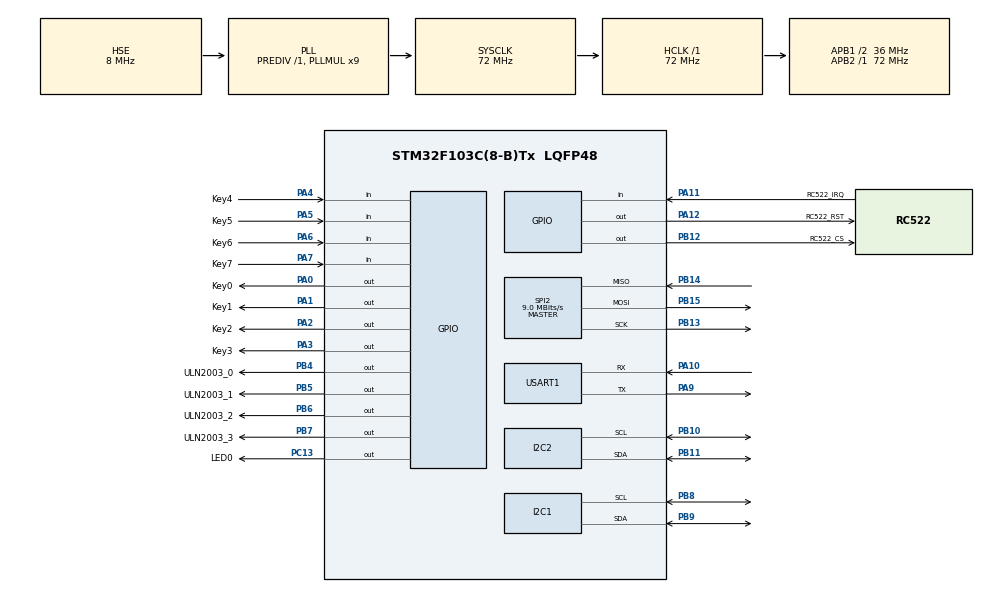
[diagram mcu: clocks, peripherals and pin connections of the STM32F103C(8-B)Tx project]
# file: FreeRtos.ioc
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FREERTOS.BinarySemaphores01=LEDSemaphroes,Dynamic,NULL;DoorSem,Dynamic,NULL
FREERTOS.Tasks01=defaultTask,-3,128,StartDefaultTask,Default,NULL,Dynamic,NULL,NULL;LED_TASK,-1,128,StartTask_LED,Default,NULL,Dynamic,NULL,NULL;RC522_TASK,2,384,StartTask_RC522,Default,NULL,Dynamic,NULL,NULL;LCD_TASK,2,384,StartTask_LCD,Default,NULL,Dynamic,NULL,NULL;DoorTsk,-2,256,StartTask_Door,Default,NULL,Dynamic,NULL,NULL;KeyTask,2,384,StartTask_Key,Default,NULL,Dynamic,NULL,NULL
FREERTOS.Timers01=myTimer01,Callback01,osTimerPeriodic,Default,NULL,Dynamic,NULL
FREERTOS.configTOTAL_HEAP_SIZE=15000
FREERTOS.configUSE_TIMERS=1
Mcu.Family=STM32F1
Mcu.Name=STM32F103C(8-B)Tx
Mcu.Package=LQFP48
NVIC.PriorityGroup=NVIC_PRIORITYGROUP_4
PA0-WKUP.GPIO_Label=Key0
PA0-WKUP.GPIO_PuPd=GPIO_PULLUP
PA0-WKUP.GPIO_Speed=GPIO_SPEED_FREQ_HIGH
PA0-WKUP.PinState=GPIO_PIN_SET
PA0-WKUP.Signal=GPIO_Output
PA1.GPIO_Label=Key1
PA1.GPIO_PuPd=GPIO_PULLUP
PA1.GPIO_Speed=GPIO_SPEED_FREQ_HIGH
PA1.PinState=GPIO_PIN_SET
PA1.Signal=GPIO_Output
PA10.Mode=Asynchronous
PA10.Signal=USART1_RX
PA11.GPIO_Label=RC522_IRQ
PA11.GPIO_PuPd=GPIO_PULLUP
PA11.Signal=GPIO_Input
PA12.GPIO_Label=RC522_RST
PA12.GPIO_ModeDefaultOutputPP=GPIO_MODE_OUTPUT_PP
PA12.GPIO_PuPd=GPIO_PULLDOWN
PA12.GPIO_Speed=GPIO_SPEED_FREQ_HIGH
PA12.PinState=GPIO_PIN_RESET
PA12.Signal=GPIO_Output
PA13.Mode=Serial_Wire
PA13.Signal=SYS_JTMS-SWDIO
PA14.Mode=Serial_Wire
PA14.Signal=SYS_JTCK-SWCLK
PA2.GPIO_Label=Key2
PA2.GPIO_PuPd=GPIO_PULLUP
PA2.GPIO_Speed=GPIO_SPEED_FREQ_HIGH
PA2.PinState=GPIO_PIN_SET
PA2.Signal=GPIO_Output
PA3.GPIO_Label=Key3
PA3.GPIO_PuPd=GPIO_PULLUP
PA3.GPIO_Speed=GPIO_SPEED_FREQ_HIGH
PA3.PinState=GPIO_PIN_SET
PA3.Signal=GPIO_Output
PA4.GPIO_Label=Key4
PA4.GPIO_PuPd=GPIO_PULLUP
PA4.Signal=GPIO_Input
PA5.GPIO_Label=Key5
PA5.GPIO_PuPd=GPIO_PULLUP
PA5.Signal=GPIO_Input
PA6.GPIO_Label=Key6
PA6.GPIO_PuPd=GPIO_PULLUP
PA6.Signal=GPIO_Input
PA7.GPIO_Label=Key7
PA7.GPIO_PuPd=GPIO_PULLUP
PA7.Signal=GPIO_Input
PA9.Mode=Asynchronous
PA9.Signal=USART1_TX
PB10.Mode=I2C
PB10.Signal=I2C2_SCL
PB11.Mode=I2C
PB11.Signal=I2C2_SDA
PB12.GPIO_Label=RC522_CS
PB12.GPIO_ModeDefaultOutputPP=GPIO_MODE_OUTPUT_PP
PB12.GPIO_PuPd=GPIO_PULLUP
PB12.GPIO_Speed=GPIO_SPEED_FREQ_HIGH
PB12.PinState=GPIO_PIN_SET
PB12.Signal=GPIO_Output
PB13.Mode=Full_Duplex_Master
PB13.Signal=SPI2_SCK
PB14.Mode=Full_Duplex_Master
PB14.Signal=SPI2_MISO
PB15.Mode=Full_Duplex_Master
PB15.Signal=SPI2_MOSI
PB4.GPIO_Label=ULN2003_0
PB4.GPIO_ModeDefaultOutputPP=GPIO_MODE_OUTPUT_PP
PB4.GPIO_PuPd=GPIO_PULLDOWN
PB4.GPIO_Speed=GPIO_SPEED_FREQ_HIGH
PB4.PinState=GPIO_PIN_SET
PB4.Signal=GPIO_Output
PB5.GPIO_Label=ULN2003_1
PB5.GPIO_PuPd=GPIO_PULLDOWN
PB5.GPIO_Speed=GPIO_SPEED_FREQ_HIGH
PB5.PinState=GPIO_PIN_SET
PB5.Signal=GPIO_Output
PB6.GPIO_Label=ULN2003_2
PB6.GPIO_PuPd=GPIO_PULLDOWN
PB6.GPIO_Speed=GPIO_SPEED_FREQ_HIGH
PB6.PinState=GPIO_PIN_SET
PB6.Signal=GPIO_Output
PB7.GPIO_Label=ULN2003_3
PB7.GPIO_PuPd=GPIO_PULLDOWN
PB7.GPIO_Speed=GPIO_SPEED_FREQ_HIGH
PB7.PinState=GPIO_PIN_SET
PB7.Signal=GPIO_Output
PB8.Mode=I2C
PB8.Signal=I2C1_SCL
PB9.Mode=I2C
PB9.Signal=I2C1_SDA
PC13-TAMPER-RTC.GPIO_Label=LED0
PC13-TAMPER-RTC.GPIO_PuPd=GPIO_PULLUP
PC13-TAMPER-RTC.GPIO_Speed=GPIO_SPEED_FREQ_HIGH
PC13-TAMPER-RTC.PinState=GPIO_PIN_SET
PC13-TAMPER-RTC.Signal=GPIO_Output
PC14-OSC32_IN.Mode=LSE-External-Oscillator
PC14-OSC32_IN.Signal=RCC_OSC32_IN
PC15-OSC32_OUT.Mode=LSE-External-Oscillator
PC15-OSC32_OUT.Signal=RCC_OSC32_OUT
PD0-OSC_IN.Mode=HSE-External-Oscillator
PD0-OSC_IN.Signal=RCC_OSC_IN
PD1-OSC_OUT.Mode=HSE-External-Oscillator
PD1-OSC_OUT.Signal=RCC_OSC_OUT
ProjectManager.HeapSize=0x400
ProjectManager.StackSize=0x200
ProjectManager.TargetToolchain=MDK-ARM V5
RCC.AHBFreq_Value=72000000
RCC.APB1CLKDivider=RCC_HCLK_DIV2
RCC.APB1Freq_Value=36000000
RCC.APB1TimFreq_Value=72000000
RCC.APB2Freq_Value=72000000
RCC.APB2TimFreq_Value=72000000
RCC.HCLKFreq_Value=72000000
RCC.PLLMUL=RCC_PLL_MUL9
RCC.PLLSourceVirtual=RCC_PLLSOURCE_HSE
RCC.SYSCLKFreq_VALUE=72000000
RCC.SYSCLKSource=RCC_SYSCLKSOURCE_PLLCLK
RCC.USBFreq_Value=72000000
SPI2.BaudRatePrescaler=SPI_BAUDRATEPRESCALER_4
SPI2.CLKPhase=SPI_PHASE_2EDGE
SPI2.CLKPolarity=SPI_POLARITY_HIGH
SPI2.CalculateBaudRate=9.0 MBits/s
SPI2.Direction=SPI_DIRECTION_2LINES
SPI2.Mode=SPI_MODE_MASTER
SPI2.VirtualType=VM_MASTER
USART1.VirtualMode=VM_ASYNC
VP_FREERTOS_VS_ENABLE.Mode=Enabled
board=custom

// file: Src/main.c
/**
  ******************************************************************************
  * @file           : main.c
  * @brief          : Main program body
  ******************************************************************************
  * This notice applies to any and all portions of this file
  * that are not between comment pairs USER CODE BEGIN and
  * USER CODE END. Other portions of this file, whether
  * inserted by the user or by software development tools
  * are owned by their respective copyright owners.
  *
  * Copyright (c) 2019 STMicroelectronics International N.V.
  * All rights reserved.
  *
  * Redistribution and use in source and binary forms, with or without
  * modification, are permitted, provided that the following conditions are met:
  *
  * 1. Redistribution of source code must retain the above copyright notice,
  *    this list of conditions and the following disclaimer.
  * 2. Redistributions in binary form must reproduce the above copyright notice,
  *    this list of conditions and the following disclaimer in the documentation
  *    and/or other materials provided with the distribution.
  * 3. Neither the name of STMicroelectronics nor the names of other
  *    contributors to this software may be used to endorse or promote products
  *    derived from this software without specific written permission.
  * 4. This software, including modifications and/or derivative works of this
  *    software, must execute solely and exclusively on microcontroller or
  *    microprocessor devices manufactured by or for STMicroelectronics.
  * 5. Redistribution and use of this software other than as permitted under
  *    this license is void and will automatically terminate your rights under
  *    this license.
  *
  * THIS SOFTWARE IS PROVIDED BY STMICROELECTRONICS AND CONTRIBUTORS "AS IS"
  * AND ANY EXPRESS, IMPLIED OR STATUTORY WARRANTIES, INCLUDING, BUT NOT
  * LIMITED TO, THE IMPLIED WARRANTIES OF MERCHANTABILITY, FITNESS FOR A
  * PARTICULAR PURPOSE AND NON-INFRINGEMENT OF THIRD PARTY INTELLECTUAL PROPERTY
  * RIGHTS ARE DISCLAIMED TO THE FULLEST EXTENT PERMITTED BY LAW. IN NO EVENT
  * SHALL STMICROELECTRONICS OR CONTRIBUTORS BE LIABLE FOR ANY DIRECT, INDIRECT,
  * INCIDENTAL, SPECIAL, EXEMPLARY, OR CONSEQUENTIAL DAMAGES (INCLUDING, BUT NOT
  * LIMITED TO, PROCUREMENT OF SUBSTITUTE GOODS OR SERVICES; LOSS OF USE, DATA,
  * OR PROFITS; OR BUSINESS INTERRUPTION) HOWEVER CAUSED AND ON ANY THEORY OF
  * LIABILITY, WHETHER IN CONTRACT, STRICT LIABILITY, OR TORT (INCLUDING
  * NEGLIGENCE OR OTHERWISE) ARISING IN ANY WAY OUT OF THE USE OF THIS SOFTWARE,
  * EVEN IF ADVISED OF THE POSSIBILITY OF SUCH DAMAGE.
  *
  ******************************************************************************
  */
#include "main.h"
#include "stm32f1xx_hal.h"
#include "cmsis_os.h"
#include "i2c.h"
#include "spi.h"
#include "usart.h"
#include "gpio.h"

/* USER CODE BEGIN Includes */
#include "RC522.h"
#include "oled.h"
/* USER CODE END Includes */

/* USER CODE BEGIN PV */
/* Private variables ---------------------------------------------------------*/

/* USER CODE END PV */

void SystemClock_Config(void);
void MX_FREERTOS_Init(void);

/* USER CODE BEGIN PFP */
/* Private function prototypes -----------------------------------------------*/

/* USER CODE END PFP */

int main(void)
{

  /* MCU Configuration----------------------------------------------------------*/

  /* Reset of all peripherals, Initializes the Flash interface and the Systick. */
  HAL_Init();

  /* Configure the system clock */
  SystemClock_Config();

  /* Initialize all configured peripherals */
  MX_GPIO_Init();
  MX_SPI2_Init();
  MX_USART1_UART_Init();
  MX_I2C1_Init();
  MX_I2C2_Init();
  /* USER CODE BEGIN 2 */
	MFRC522_Initializtion();
	OLED_Init();
	OLED_P6x8Str(0,0,"rc522");
  /* USER CODE END 2 */

  /* Call init function for freertos objects (in freertos.c) */
  MX_FREERTOS_Init();

  /* Start scheduler */
  osKernelStart();

  /* We should never get here as control is now taken by the scheduler */

  /* Infinite loop */
  while (1)
  {

  /* USER CODE BEGIN 3 */
		HAL_Delay(100);
  }
  /* USER CODE END 3 */

}

void SystemClock_Config(void)
{

  RCC_OscInitTypeDef RCC_OscInitStruct;
  RCC_ClkInitTypeDef RCC_ClkInitStruct;

    /**Initializes the CPU, AHB and APB busses clocks
    */
  RCC_OscInitStruct.OscillatorType = RCC_OSCILLATORTYPE_HSE;
  RCC_OscInitStruct.HSEState = RCC_HSE_ON;
  RCC_OscInitStruct.HSEPredivValue = RCC_HSE_PREDIV_DIV1;
  RCC_OscInitStruct.HSIState = RCC_HSI_ON;
  RCC_OscInitStruct.PLL.PLLState = RCC_PLL_ON;
  RCC_OscInitStruct.PLL.PLLSource = RCC_PLLSOURCE_HSE;
  RCC_OscInitStruct.PLL.PLLMUL = RCC_PLL_MUL9;
  if (HAL_RCC_OscConfig(&RCC_OscInitStruct) != HAL_OK)
  {
    _Error_Handler(__FILE__, __LINE__);
  }

    /**Initializes the CPU, AHB and APB busses clocks
    */
  RCC_ClkInitStruct.ClockType = RCC_CLOCKTYPE_HCLK|RCC_CLOCKTYPE_SYSCLK
                              |RCC_CLOCKTYPE_PCLK1|RCC_CLOCKTYPE_PCLK2;
  RCC_ClkInitStruct.SYSCLKSource = RCC_SYSCLKSOURCE_PLLCLK;
  RCC_ClkInitStruct.AHBCLKDivider = RCC_SYSCLK_DIV1;
  RCC_ClkInitStruct.APB1CLKDivider = RCC_HCLK_DIV2;
  RCC_ClkInitStruct.APB2CLKDivider = RCC_HCLK_DIV1;

  if (HAL_RCC_ClockConfig(&RCC_ClkInitStruct, FLASH_LATENCY_2) != HAL_OK)
  {
    _Error_Handler(__FILE__, __LINE__);
  }

    /**Configure the Systick interrupt time
    */
  HAL_SYSTICK_Config(HAL_RCC_GetHCLKFreq()/1000);

    /**Configure the Systick
    */
  HAL_SYSTICK_CLKSourceConfig(SYSTICK_CLKSOURCE_HCLK);

  /* SysTick_IRQn interrupt configuration */
  HAL_NVIC_SetPriority(SysTick_IRQn, 15, 0);
}

void _Error_Handler(char *file, int line)
{
  while(1)
  {
  }
}

/************************ (C) COPYRIGHT STMicroelectronics *****END OF FILE****/

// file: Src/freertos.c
/**
  ******************************************************************************
  * File Name          : freertos.c
  * Description        : Code for freertos applications
  ******************************************************************************
  * This notice applies to any and all portions of this file
  * that are not between comment pairs USER CODE BEGIN and
  * USER CODE END. Other portions of this file, whether
  * inserted by the user or by software development tools
  * are owned by their respective copyright owners.
  *
  * Copyright (c) 2019 STMicroelectronics International N.V.
  * All rights reserved.
  *
  * Redistribution and use in source and binary forms, with or without
  * modification, are permitted, provided that the following conditions are met:
  *
  * 1. Redistribution of source code must retain the above copyright notice,
  *    this list of conditions and the following disclaimer.
  * 2. Redistributions in binary form must reproduce the above copyright notice,
  *    this list of conditions and the following disclaimer in the documentation
  *    and/or other materials provided with the distribution.
  * 3. Neither the name of STMicroelectronics nor the names of other
  *    contributors to this software may be used to endorse or promote products
  *    derived from this software without specific written permission.
  * 4. This software, including modifications and/or derivative works of this
  *    software, must execute solely and exclusively on microcontroller or
  *    microprocessor devices manufactured by or for STMicroelectronics.
  * 5. Redistribution and use of this software other than as permitted under
  *    this license is void and will automatically terminate your rights under
  *    this license.
  *
  * THIS SOFTWARE IS PROVIDED BY STMICROELECTRONICS AND CONTRIBUTORS "AS IS"
  * AND ANY EXPRESS, IMPLIED OR STATUTORY WARRANTIES, INCLUDING, BUT NOT
  * LIMITED TO, THE IMPLIED WARRANTIES OF MERCHANTABILITY, FITNESS FOR A
  * PARTICULAR PURPOSE AND NON-INFRINGEMENT OF THIRD PARTY INTELLECTUAL PROPERTY
  * RIGHTS ARE DISCLAIMED TO THE FULLEST EXTENT PERMITTED BY LAW. IN NO EVENT
  * SHALL STMICROELECTRONICS OR CONTRIBUTORS BE LIABLE FOR ANY DIRECT, INDIRECT,
  * INCIDENTAL, SPECIAL, EXEMPLARY, OR CONSEQUENTIAL DAMAGES (INCLUDING, BUT NOT
  * LIMITED TO, PROCUREMENT OF SUBSTITUTE GOODS OR SERVICES; LOSS OF USE, DATA,
  * OR PROFITS; OR BUSINESS INTERRUPTION) HOWEVER CAUSED AND ON ANY THEORY OF
  * LIABILITY, WHETHER IN CONTRACT, STRICT LIABILITY, OR TORT (INCLUDING
  * NEGLIGENCE OR OTHERWISE) ARISING IN ANY WAY OUT OF THE USE OF THIS SOFTWARE,
  * EVEN IF ADVISED OF THE POSSIBILITY OF SUCH DAMAGE.
  *
  ******************************************************************************
  */

#include "FreeRTOS.h"
#include "task.h"
#include "cmsis_os.h"

/* USER CODE BEGIN Includes */
#include "main.h"
#include "gpio.h"
#include "RC522.h"
#include "oled.h"
#include "stdlib.h"
#include "i2c.h"
/* USER CODE END Includes */

osThreadId defaultTaskHandle;
osThreadId LED_TASKHandle;
osThreadId RC522_TASKHandle;
osThreadId LCD_TASKHandle;
osThreadId DoorTskHandle;
osThreadId KeyTaskHandle;
osTimerId myTimer01Handle;
osSemaphoreId LEDSemaphroesHandle;
osSemaphoreId DoorSemHandle;

/* USER CODE BEGIN Variables */
osMailQId RC522_mailHandle;
osMailQId password_mailHandle;
osMailQId word_mailHandle;
uint8_t display_words[24]="                        ";
uint8_t display_password[16]="               ";
uint8_t check_card[14]= "             ";
uint8_t key_input[5]={"    "};
uint8_t password_status = 0;
uint8_t control_door_flag = 0;
uint8_t password[4] = "1234";
uint8_t ic_card_status;
uint8_t password_err_cnt = 0;
//{{"    have card"},{"not have card"}};
/* USER CODE END Variables */

void StartDefaultTask(void const * argument);
void StartTask_LED(void const * argument);
void StartTask_RC522(void const * argument);
void StartTask_LCD(void const * argument);
void StartTask_Door(void const * argument);
void StartTask_Key(void const * argument);
void Callback01(void const * argument);

void MX_FREERTOS_Init(void); /* (MISRA C 2004 rule 8.1) */

/* USER CODE BEGIN FunctionPrototypes */
void Door_control(uint8_t status)  ;
char keypress(void);
uint16_t GPIO_ReadInputData(GPIO_TypeDef* GPIOx );
void KeyOpen(uint8_t key_value);
int my_strcmp(char const *p,char const *q)  ;
/* USER CODE END FunctionPrototypes */

/* Hook prototypes */

/* Init FreeRTOS */

void MX_FREERTOS_Init(void) {

  /* Create the semaphores(s) */
  /* definition and creation of LEDSemaphroes */
  osSemaphoreDef(LEDSemaphroes);
  LEDSemaphroesHandle = osSemaphoreCreate(osSemaphore(LEDSemaphroes), 1);

  /* definition and creation of DoorSem */
  osSemaphoreDef(DoorSem);
  DoorSemHandle = osSemaphoreCreate(osSemaphore(DoorSem), 1);

  /* Create the timer(s) */
  /* definition and creation of myTimer01 */
  osTimerDef(myTimer01, Callback01);
  myTimer01Handle = osTimerCreate(osTimer(myTimer01), osTimerPeriodic, NULL);

  /* Create the thread(s) */
  /* definition and creation of defaultTask */
  osThreadDef(defaultTask, StartDefaultTask, osPriorityIdle, 0, 128);
  defaultTaskHandle = osThreadCreate(osThread(defaultTask), NULL);

  /* definition and creation of LED_TASK */
  osThreadDef(LED_TASK, StartTask_LED, osPriorityBelowNormal, 0, 128);
  LED_TASKHandle = osThreadCreate(osThread(LED_TASK), NULL);

  /* definition and creation of RC522_TASK */
  osThreadDef(RC522_TASK, StartTask_RC522, osPriorityHigh, 0, 384);
  RC522_TASKHandle = osThreadCreate(osThread(RC522_TASK), NULL);

  /* definition and creation of LCD_TASK */
  osThreadDef(LCD_TASK, StartTask_LCD, osPriorityHigh, 0, 384);
  LCD_TASKHandle = osThreadCreate(osThread(LCD_TASK), NULL);

  /* definition and creation of DoorTsk */
  osThreadDef(DoorTsk, StartTask_Door, osPriorityLow, 0, 256);
  DoorTskHandle = osThreadCreate(osThread(DoorTsk), NULL);

  /* definition and creation of KeyTask */
  osThreadDef(KeyTask, StartTask_Key, osPriorityHigh, 0, 384);
  KeyTaskHandle = osThreadCreate(osThread(KeyTask), NULL);

  /* USER CODE BEGIN RTOS_QUEUES */
  /* add queues, ... */

	osMailQDef(RC522_Value, 14, uint8_t);
  RC522_mailHandle = osMailCreate(osMailQ(RC522_Value), NULL);
	osMailQDef(password_mail, 16, uint8_t);
  password_mailHandle = osMailCreate(osMailQ(password_mail), NULL);
	osMailQDef(word_mail, 24, uint8_t);
  word_mailHandle = osMailCreate(osMailQ(word_mail), NULL);
//	osTimerStart(myTimer01Handle,1000);
	osSemaphoreWait(DoorSemHandle,0x10);
  /* USER CODE END RTOS_QUEUES */
}

/* StartDefaultTask function */
void StartDefaultTask(void const * argument)
{

  /* USER CODE BEGIN StartDefaultTask */
  /* Infinite loop */
  for(;;)
  {
    osDelay(1000);
  }
  /* USER CODE END StartDefaultTask */
}

/* StartTask_LED function */
void StartTask_LED(void const * argument)
{
  /* USER CODE BEGIN StartTask_LED */
  /* Infinite loop */
  for(;;)
  {
		if(osSemaphoreWait(LEDSemaphroesHandle,0x10) == osOK)
		{
			HAL_GPIO_WritePin(LED0_GPIO_Port,LED0_Pin,GPIO_PIN_RESET);
		}
		else
		{
			HAL_GPIO_WritePin(LED0_GPIO_Port,LED0_Pin,GPIO_PIN_SET);
		}

		osDelay(1000);
  }
  /* USER CODE END StartTask_LED */
}

/* StartTask_RC522 function */
void StartTask_RC522(void const * argument)
{
  /* USER CODE BEGIN StartTask_RC522 */
	unsigned char student_info[32] ={0};
	char buf1[8]= {0};
	char buf[8]= "0000000";
  /* Infinite loop */
  for(;;)
  {
		if(I2C2->SR2 & 0x02)
		{
			HAL_I2C_DeInit(&hi2c2);
			HAL_I2C_Init(&hi2c2);
		}

		if(RC522_search()== 0)
		{

			read_message(student_info);
//			memset(buf,0,sizeof(buf));
//			sscanf(student_info,"%[^:]:%8s",buf1,buf);
//			OLED_P6x8Str(0,1,buf);
			memset(check_card,0,14);
			memcpy(check_card,"    have card",14);

			osSemaphoreRelease(LEDSemaphroesHandle);
			osSemaphoreRelease(DoorSemHandle);

		}
		else
		{
			memset(check_card,0,14);
			memcpy(check_card,"not have card",14);
//			OLED_P6x8Str(0,1,"        ");
		}
		osMailPut(RC522_mailHandle,check_card);

    osDelay(1000);
  }
  /* USER CODE END StartTask_RC522 */
}

/* StartTask_LCD function */
void StartTask_LCD(void const * argument)
{
  /* USER CODE BEGIN StartTask_LCD */

	osEvent Rc522_mail;
	osEvent Password_mail;
	osEvent word_mail;
	uint8_t num = 0;
  /* Infinite loop */
  for(;;)
  {
		Rc522_mail = osMailGet(RC522_mailHandle,10);
    if(Rc522_mail.status == osEventMail)
    {
//			OLED_P6x8Str(0,2,check_card);
			oled_show_Str(0,2,check_card,13);
    }
		Password_mail = osMailGet(password_mailHandle,10);
		if(Password_mail.status == osEventMail)
    {
			oled_show_Str(0,4,display_password,15);
    }
		word_mail = osMailGet(word_mailHandle,10);
//		if(word_mail.status == osEventMail)
//    {
//			oled_show_Str(0,7,display_words,20);
//    }
		oled_show_Str(0,7,display_words,20);

		num++;
		OLED_P6x8data(64,0,num);

		osDelay(1000);
  }

  /* USER CODE END StartTask_LCD */
}

/* StartTask_Door function */
void StartTask_Door(void const * argument)
{
  /* USER CODE BEGIN StartTask_Door */
	uint8_t door_status = 0;
	uint32_t time_count = 0 ;
	uint32_t tickstart = 0;
	uint32_t time_pre = 0 ;
  /* Infinite loop */
  for(;;)
  {
		if(osSemaphoreWait(DoorSemHandle,0x10) == osOK && door_status == 0)
		{
			osThreadSuspend(RC522_TASKHandle);
			osThreadSuspend(LED_TASKHandle);
			door_status = 1;
			time_count = 0;

			Door_control(1);
			time_pre = HAL_GetTick();
		}
		else if(door_status ==1 && time_count > 5000) {
			door_status = 0;
			Door_control(0);
			osThreadResume(RC522_TASKHandle);
			osDelay(10);
		}
		else if(door_status == 1)
		{
			tickstart = HAL_GetTick();
			time_count += tickstart - time_pre;

			time_pre = tickstart;
		}
    osDelay(200);
  }
  /* USER CODE END StartTask_Door */
}

/* StartTask_Key function */
void StartTask_Key(void const * argument)
{
  /* USER CODE BEGIN StartTask_Key */
	uint8_t Key_temp;
	uint8_t dis_time_cnt= 0 ;
	uint8_t err_time_cnt= 0 ;
  /* Infinite loop */
  for(;;)
  {

		Key_temp = keypress();
		KeyOpen(Key_temp);

		if(Key_temp == 17)
		{
			dis_time_cnt++;

			if(dis_time_cnt >= 20)
			{
				dis_time_cnt = 20;
				memset(display_words ,' ',sizeof(display_words));
			}
		}
		else
		{
			dis_time_cnt = 0;
		}

		if(password_err_cnt >=3)
		{
			memcpy(display_words ,"max err cnt         ",20);
			err_time_cnt++;

			if(err_time_cnt >= 80)
			{
				err_time_cnt = 0;
				password_err_cnt = 0;
			}
		}
		if(control_door_flag == 1&& password_err_cnt<3)
		{
			osSemaphoreRelease(DoorSemHandle);

		}
		osMailPut(password_mailHandle,display_password);
		osMailPut(word_mailHandle,display_words);
		control_door_flag = 0;
    osDelay(100);
  }
  /* USER CODE END StartTask_Key */
}

/* Callback01 function */
void Callback01(void const * argument)
{
}

/* USER CODE BEGIN Application */
/*
	status 控制门的方式
	0： 关门
  1：开门
*/
void Door_control(uint8_t status)
{
	uint8_t cnt = 0;
	if(status == 0)
	{
		while(cnt < 100)
		{

			HAL_GPIO_WritePin(ULN2003_0_GPIO_Port,ULN2003_0_Pin,GPIO_PIN_SET);
			HAL_GPIO_WritePin(ULN2003_0_GPIO_Port,ULN2003_1_Pin|ULN2003_2_Pin|ULN2003_3_Pin,GPIO_PIN_RESET);
			osDelay(10);
			HAL_GPIO_WritePin(ULN2003_0_GPIO_Port,ULN2003_1_Pin,GPIO_PIN_SET);
			HAL_GPIO_WritePin(ULN2003_0_GPIO_Port,ULN2003_0_Pin|ULN2003_2_Pin|ULN2003_3_Pin,GPIO_PIN_RESET);
			osDelay(10);
			HAL_GPIO_WritePin(ULN2003_0_GPIO_Port,ULN2003_2_Pin,GPIO_PIN_SET);
			HAL_GPIO_WritePin(ULN2003_0_GPIO_Port,ULN2003_1_Pin|ULN2003_0_Pin|ULN2003_3_Pin,GPIO_PIN_RESET);
			osDelay(10);
			HAL_GPIO_WritePin(ULN2003_0_GPIO_Port,ULN2003_3_Pin,GPIO_PIN_SET);
			HAL_GPIO_WritePin(ULN2003_0_GPIO_Port,ULN2003_1_Pin|ULN2003_2_Pin|ULN2003_0_Pin,GPIO_PIN_RESET);
			osDelay(10);
			cnt ++;
		}
	}else if(status >0)
	{
		while(cnt < 100)
		{

			HAL_GPIO_WritePin(ULN2003_0_GPIO_Port,ULN2003_3_Pin,GPIO_PIN_SET);
			HAL_GPIO_WritePin(ULN2003_0_GPIO_Port,ULN2003_1_Pin|ULN2003_2_Pin|ULN2003_0_Pin,GPIO_PIN_RESET);
			osDelay(10);
			HAL_GPIO_WritePin(ULN2003_0_GPIO_Port,ULN2003_2_Pin,GPIO_PIN_SET);
			HAL_GPIO_WritePin(ULN2003_0_GPIO_Port,ULN2003_0_Pin|ULN2003_1_Pin|ULN2003_3_Pin,GPIO_PIN_RESET);
			osDelay(10);
			HAL_GPIO_WritePin(ULN2003_0_GPIO_Port,ULN2003_1_Pin,GPIO_PIN_SET);
			HAL_GPIO_WritePin(ULN2003_0_GPIO_Port,ULN2003_2_Pin|ULN2003_0_Pin|ULN2003_3_Pin,GPIO_PIN_RESET);
			osDelay(10);
			HAL_GPIO_WritePin(ULN2003_0_GPIO_Port,ULN2003_0_Pin,GPIO_PIN_SET);
			HAL_GPIO_WritePin(ULN2003_0_GPIO_Port,ULN2003_1_Pin|ULN2003_2_Pin|ULN2003_3_Pin,GPIO_PIN_RESET);
			osDelay(10);
			cnt ++;
		}
	}
}

uint16_t GPIO_ReadInputData(GPIO_TypeDef* GPIOx )
{
	return ((uint16_t)GPIOx->IDR);
}
/***************************************************
*@version		:V1.0
*@CreatDate		:
*@Description	:矩阵键盘，默认支持连按，
*@Author		:K.G.
****************************************************/
char keypress(void)
{
    static uint8_t KeyHold = 0;
    int KeyValue=17;

    if((GPIO_ReadInputData(GPIOA)&0xFF)!=0x0F)
    {
        osDelay(2);
        if((GPIO_ReadInputData(GPIOA)&0xFF)!=0x0F&&KeyHold ==0)
        {
            HAL_GPIO_WritePin(Key0_GPIO_Port,Key0_Pin,GPIO_PIN_SET);
						HAL_GPIO_WritePin(Key0_GPIO_Port,Key1_Pin|Key2_Pin|Key3_Pin,GPIO_PIN_RESET);

            switch(GPIO_ReadInputData(GPIOA)&0xFF)
            {
                case 0x11:KeyValue=7;break;

                case 0x21:KeyValue=4;break;

                case 0x41:KeyValue=1;break;

                case 0x81:KeyValue=11;break;
            }

						HAL_GPIO_WritePin(Key0_GPIO_Port,Key1_Pin,GPIO_PIN_SET);
						HAL_GPIO_WritePin(Key0_GPIO_Port,Key0_Pin|Key2_Pin|Key3_Pin,GPIO_PIN_RESET);

            switch(GPIO_ReadInputData(GPIOA)&0xff)
            {
             case 0x12:KeyValue=8;break;

             case 0x22:KeyValue=5;break;

             case 0x42:KeyValue=2;break;

             case 0x82:KeyValue=0;break;

            }

						HAL_GPIO_WritePin(Key0_GPIO_Port,Key2_Pin,GPIO_PIN_SET);
						HAL_GPIO_WritePin(Key0_GPIO_Port,Key0_Pin|Key1_Pin|Key3_Pin,GPIO_PIN_RESET);

            switch(GPIO_ReadInputData(GPIOA)&0xff)
            {
                case 0x14:KeyValue=9;break;

                case 0x24:KeyValue=6;break;

                case 0x44:KeyValue=3;break;

                case 0x84:KeyValue=10;break;
            }

						HAL_GPIO_WritePin(Key0_GPIO_Port,Key3_Pin,GPIO_PIN_SET);
						HAL_GPIO_WritePin(Key0_GPIO_Port,Key0_Pin|Key2_Pin|Key1_Pin,GPIO_PIN_RESET);

            switch(GPIO_ReadInputData(GPIOA)&0xff)
            {
                case 0x18:KeyValue=12;break;

                case 0x28:KeyValue=13;break;

                case 0x48:KeyValue=14;break;

                case 0x88:KeyValue=15;break;
            }
						HAL_GPIO_WritePin(Key0_GPIO_Port,Key0_Pin|Key1_Pin|Key2_Pin|Key3_Pin,GPIO_PIN_SET);
						HAL_GPIO_WritePin(Key0_GPIO_Port,Key4_Pin|Key5_Pin|Key6_Pin|Key7_Pin,GPIO_PIN_RESET);
            if((GPIO_ReadInputData(GPIOA)&0xff)==0x0F&&KeyHold==1)    //按下就会中断程序
            {
                KeyValue = 17;
            }
               KeyHold = 1;
        }
    }
    else
        KeyHold = 0;

    return KeyValue;
}

int my_strcmp(char const *p,char const *q)
{
//    assert(p);
//    assert(q);
    while(*p==*q)
    {
        if(*p=='\0')
            return 0;
        p++;
        q++;
    }
    if(*p>*q)
        return 1;
    if(*p<*q)
        return -1;
    return -1;
}

/***************************************************
*@version		:V1.0
*@CreatDate		:2018/5/5
*@Description	:按键开门，加上模式1下的按键切换功能
*@Author		:K.G.
****************************************************/

void KeyOpen(uint8_t key_value)
{

    static uint8_t num = 0;
    uint8_t i = 0;
//    LCD_ShowxNum(0,130,key_value,2,12,0);
    if(key_value!= 17)
    {
        if(key_value<10&&num<4)                 //输入密码
        {
            key_input[num] = key_value+0x30;
            num++;
        }
        else if(key_value == 11&&num > 0&&num<5)                //删除密码
        {
            num--;
            key_input[num]=' ';
        }
        else if(key_value == 10)
        {
            if(password_status == 0)
            {
                if(my_strcmp((const char *)password, (const char *)key_input) == 0)
                {
//                    LCD_ShowString(0,145,120,12,12,(uint8_t *)"open door      ");
											memcpy(display_words,"open door           ",20);
                    control_door_flag = 1;
                }
                else
                {
//                    LCD_ShowString(0,145,120,12,12,(uint8_t *)"password error ");
									password_err_cnt++;
									memcpy(display_words,"password error      ",20);
                }
//								OLED_P6x8Str(0,3,(uint8_t *)"password error ");
                num = 0;
                memset(key_input,0,sizeof(key_input));
            }
						//修改密码部分，需要自己设置 status  = 1
            else if(password_status == 1)
            {
                if(my_strcmp((const char *)password, (const char *)key_input) == 0)
                {
//                    LCD_ShowString(0,145,120,12,12,(uint8_t *)"modif password   ");
//                    LCD_ShowString(0,115,120,12,12,(uint8_t *)"input new password   ");
										memcpy(display_words,"input new password     ",20);
                    num=0;
                    memset(key_input,' ',4*sizeof(uint8_t));
                    password_status = 2;
                }
                else
                {
//                    LCD_ShowString(0,145,120,12,12,(uint8_t *)"password error   ");
										memcpy(display_words,"password error         ",20);
                    num=0;
                    memset(key_input,' ',4*sizeof(uint8_t));
                }
            }
            else if(password_status == 2)
            {
                strcpy((char *)password, (char *)key_input);
//                LCD_ShowString(0,115,120,12,12,(uint8_t *)"modif   success!!!   ");
								memcpy(display_words,"modif   success!!!   ",20);

                password_status = 0;
                num=0;
                memset(key_input,' ',4*sizeof(uint8_t));
            }

            else if(ic_card_status ==1 )
            {
                if(my_strcmp((const char *)password, (const char *)key_input) == 0)
                {
                    LCD_ShowString(0,145,120,12,12,(uint8_t *)"add ic card     ");
                    if(RC522_Add_ic_card() == MI_OK)
										{
											memcpy(display_words,"add ic card OK      ",20);
											ic_card_status  = 0;
											password_status = 0;
										}
										else
										{

											memcpy(display_words,"add ic card fail    ",20);
										}
                    num=0;
                    memset(key_input,' ',4*sizeof(uint8_t));
//                    ic_card_status = 2;
                    LCD_ShowString(0,145,120,12,12,(uint8_t *)"please enter angain");
                }
                else
                {
//                    LCD_ShowString(0,145,120,12,12,(uint8_t *)"password error   ");
										memcpy(display_words,"password error      ",20);
                    num=0;
                    memset(key_input,' ',4*sizeof(uint8_t));
                }
            }
            else if(ic_card_status ==2 )
            {
                if(RC522_Read_Mess() == 0)
                {
                    LCD_ShowString(0,145,120,12,12,(uint8_t *)"add ic card success ");
									memcpy(display_words,"add ic card OK      ",20);
                }
                else
                {
//                    ic_card_status = 1;
                    LCD_ShowString(0,145,120,12,12,(uint8_t *)"add ic card faild");
									memcpy(display_words,"add ic card fail    ",20);
                }

								ic_card_status  = 0;
								password_status = 0;
            }
						else if(ic_card_status ==3 )
            {
									if(my_strcmp((const char *)password, (const char *)key_input) == 0)
									{
											LCD_ShowString(0,145,120,12,12,(uint8_t *)"Del ic card     ");
											if(RC522_del_ic_card() == MI_OK)
											{
												memcpy(display_words,"del ic card OK      ",20);
												ic_card_status  = 0;
												password_status = 0;
											}
											else
											{

												memcpy(display_words,"del ic card fail    ",20);
											}
											num=0;
											memset(key_input,' ',4*sizeof(uint8_t));

											LCD_ShowString(0,145,120,12,12,(uint8_t *)"please enter angain");
									}
									else
									{
	//                    LCD_ShowString(0,145,120,12,12,(uint8_t *)"password error   ");
											memcpy(display_words,"password error      ",20);
											num=0;
											memset(key_input,' ',4*sizeof(uint8_t));
									}
            }
        }

        else if(key_value == 13)                //切换模式，待修改
        {
						osThreadSuspend(RC522_TASKHandle);
            ic_card_status  = 1;
            password_status = 3;
            num=0;
//            LCD_ShowString(0,115,120,12,12,(uint8_t *)"add ic card,input  ");
					memcpy(display_words,"add ic card,input   ",20);
        }
        else if(key_value == 12)                //修改密码
        {
//            display_manual = 1;
            ic_card_status = 0;
            password_status = 1;
//            fingerprint_status = 0;
            num=0;
//            LCD_ShowString(0,115,120,12,12,(uint8_t *)"modif password,input");
					memcpy(display_words,"modif password,input",24);
        }
        else if(key_value == 14)                //修改密码
        {
					osThreadSuspend(RC522_TASKHandle);
					ic_card_status  = 3;
            password_status = 3;
            num=0;
					memcpy(display_words,"del ic card,input   ",20);
        }
				else if(key_value == 15)                //修改密码
        {
					osThreadResume(RC522_TASKHandle);
					ic_card_status  = 0;
            password_status = 0;
					osDelay(10);
        }
        else if(num >=4)
        {
            num = 4;
        }

    }

			if(num == 0)
			{
				memcpy(display_password,"                ",16);
			}
			else if(num ==1 )
			{
				memcpy(display_password,"*               ",16);
			}
			else if(num ==2 )
			{
				memcpy(display_password,"**              ",16);
			}
			else if(num ==3 )
			{
				memcpy(display_password,"***             ",16);
			}
			else if(num ==4 )
			{
				memcpy(display_password,"****            ",16);
			}

//    LCD_ShowString(60,130,24,12,12,key_input);
}

/* USER CODE END Application */

/************************ (C) COPYRIGHT STMicroelectronics *****END OF FILE****/
